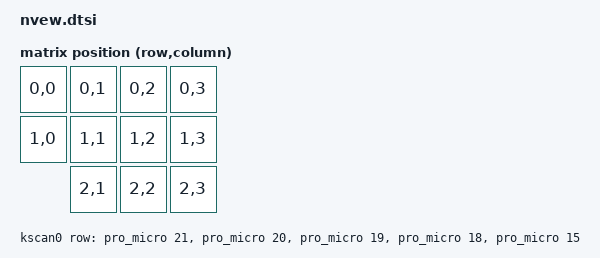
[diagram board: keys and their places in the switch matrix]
#include <dt-bindings/zmk/matrix_transform.h>

/ {
    chosen {
        zmk,kscan = &kscan0;
        zmk,matrix_transform = &default_transform;
    };

    default_transform: keymap_transform_0 {
        compatible = "zmk,matrix-transform";
        columns = <4>;
        rows = <3>;
// | SW6  |     | SW5  | SW4  | SW3  |
// | SW12 |     | SW11 | SW10 | SW9  |
//              | SW17 | SW16 | SW15 |

        map = <
            RC(0,0) RC(0,1) RC(0,2) RC(0,3)
            RC(1,0) RC(1,1) RC(1,2) RC(1,3)
                    RC(2,1) RC(2,2) RC(2,3) 
        >;
    };

    kscan0: kscan {
        compatible = "zmk,kscan-gpio-matrix";
        wakeup-source;
        label = "kscan0";
        diode-direction = "col2row";
        row-gpios
            = <&pro_micro 21 (GPIO_ACTIVE_HIGH | GPIO_PULL_DOWN)> // Row A from the schematic file
            , <&pro_micro 20 (GPIO_ACTIVE_HIGH | GPIO_PULL_DOWN)> // Row B from the schematic file
            , <&pro_micro 19 (GPIO_ACTIVE_HIGH | GPIO_PULL_DOWN)> // Row C from the schematic file
            , <&pro_micro 18 (GPIO_ACTIVE_HIGH | GPIO_PULL_DOWN)> // Row D from the schematic file
            , <&pro_micro 15 (GPIO_ACTIVE_HIGH | GPIO_PULL_DOWN)> // Row E from the schematic file
            ;

    };
};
